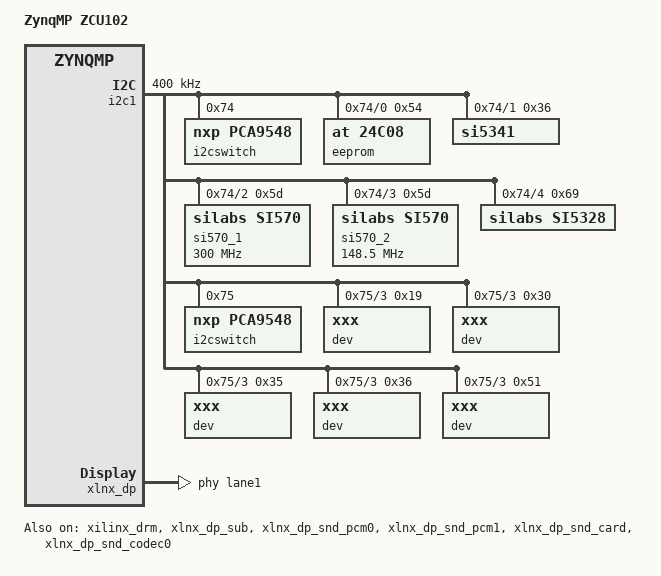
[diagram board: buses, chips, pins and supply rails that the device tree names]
/*
 * dts file for Xilinx ZynqMP ZCU102
 *
 * (C) Copyright 2015, Xilinx, Inc.
 *
 * Michal Simek <michal.simek@xilinx.com>
 *
 * This program is free software; you can redistribute it and/or
 * modify it under the terms of the GNU General Public License as
 * published by the Free Software Foundation; either version 2 of
 * the License, or (at your option) any later version.
 */

/dts-v1/;

/include/ "zynqmp.dtsi"
/include/ "zynqmp-clk.dtsi"
/include/ "pcw.dtsi"
/include/ "system-conf.dtsi"

/ {
	model = "ZynqMP ZCU102";
	compatible = "xlnx,zynqmp-zcu102", "xlnx,zynqmp";

	chosen {
		bootargs = "earlycon=cdns,mmio,0xFF000000,115200n8 uio_pdrv_genirq.of_id=generic-uio";
	};

	amba_pl: amba_pl {
		#address-cells = <2>;
		#size-cells = <2>;
		compatible = "simple-bus";
		ranges ;

		m_axi_image: kinpira@00000000 {
			xlnx,m-axi-image-addr-width = <0x20>;
			xlnx,m-axi-image-aruser-width = <0x0>;
			xlnx,m-axi-image-awuser-width = <0x0>;
			xlnx,m-axi-image-burst-max = <0x100>;
			xlnx,m-axi-image-buser-width = <0x0>;
			xlnx,m-axi-image-data-width = <0x20>;
			xlnx,m-axi-image-id-width = <0x1>;
			xlnx,m-axi-image-ruser-width = <0x0>;
			xlnx,m-axi-image-wuser-width = <0x0>;
		};

		s_axi_params: kinpira@a0000000 {
			compatible = "generic-uio";
			reg = <0x0 0xa0000000 0x0 0x10000>;
			xlnx,s-axi-params-addr-width = <0x7>;
			xlnx,s-axi-params-data-width = <0x20>;
		};

		s_axi_renkon: kinpira@a0010000 {
			compatible = "generic-uio";
			reg = <0x0 0xa0010000 0x0 0x10000>;
			xlnx,s-axi-renkon-addr-width = <0x10>;
			xlnx,s-axi-renkon-aruser-width = <0x0>;
			xlnx,s-axi-renkon-awuser-width = <0x0>;
			xlnx,s-axi-renkon-buser-width = <0x0>;
			xlnx,s-axi-renkon-data-width = <0x20>;
			xlnx,s-axi-renkon-id-width = <0xc>;
			xlnx,s-axi-renkon-ruser-width = <0x0>;
			xlnx,s-axi-renkon-wuser-width = <0x0>;
		};

		s_axi_gobou: kinpira@a0080000 {
			compatible = "generic-uio";
			reg = <0x0 0xa0080000 0x0 0x80000>;
			xlnx,s-axi-gobou-addr-width = <0x13>;
			xlnx,s-axi-gobou-aruser-width = <0x0>;
			xlnx,s-axi-gobou-awuser-width = <0x0>;
			xlnx,s-axi-gobou-buser-width = <0x0>;
			xlnx,s-axi-gobou-data-width = <0x20>;
			xlnx,s-axi-gobou-id-width = <0xc>;
			xlnx,s-axi-gobou-ruser-width = <0x0>;
			xlnx,s-axi-gobou-wuser-width = <0x0>;
		};
	};
};

&lpd_dma_chan1 {
	status = "disabled";
};
&lpd_dma_chan2 {
	status = "disabled";
};
&lpd_dma_chan3 {
	status = "disabled";
};
&lpd_dma_chan4 {
	status = "disabled";
};
&lpd_dma_chan5 {
	status = "disabled";
};
&lpd_dma_chan6 {
	status = "disabled";
};
&lpd_dma_chan7 {
	status = "disabled";
};
&lpd_dma_chan8 {
	status = "disabled";
};

&i2c1 {
	status = "okay";
	clock-frequency = <400000>;
	/* FIXME PL i2c via PCA9306 - u45 */
	/* FIXME MSP430 - u41 - not detected */
	i2cswitch@74 { /* u34 */
		compatible = "nxp,pca9548";
		#address-cells = <1>;
		#size-cells = <0>;
		reg = <0x74>;
		i2c@0 { /* i2c mw 74 0 1 */
			#address-cells = <1>;
			#size-cells = <0>;
			reg = <0>;
			/*
			 * IIC_EEPROM 1kB memory which uses 256B blocks
			 * where every block has different address.
			 *    0 - 256B address 0x54
			 * 256B - 512B address 0x55
			 * 512B - 768B address 0x56
			 * 768B - 1024B address 0x57
			 */
			eeprom@54 { /* u23 */
				compatible = "at,24c08";
				reg = <0x54>;
			};
		};
		i2c@1 { /* i2c mw 74 0 2 */
			#address-cells = <1>;
			#size-cells = <0>;
			reg = <1>;
			si5341: clock-generator1@36 { /* SI5341 - u69 */
				compatible = "si5341";
				reg = <0x36>;
			};

		};
		i2c@2 { /* i2c mw 74 0 4 */
			#address-cells = <1>;
			#size-cells = <0>;
			reg = <2>;
			si570_1: clock-generator2@5d { /* USER SI570 - u42 */
				#clock-cells = <0>;
				compatible = "silabs,si570";
				reg = <0x5d>;
				temperature-stability = <50>;
				factory-fout = <300000000>;
				clock-frequency = <300000000>;
			};
		};
		i2c@3 { /* i2c mw 74 0 8 */
			#address-cells = <1>;
			#size-cells = <0>;
			reg = <3>;
			si570_2: clock-generator3@5d { /* USER MGT SI570 - u56 */
				#clock-cells = <0>;
				compatible = "silabs,si570";
				reg = <0x5d>;
				temperature-stability = <50>; /* copy from zc702 */
				factory-fout = <156250000>;
				clock-frequency = <148500000>;
			};
		};
		i2c@4 { /* i2c mw 74 0 10 */
			#address-cells = <1>;
			#size-cells = <0>;
			reg = <4>;
			si5328: clock-generator4@69 {/* SI5328 - u20 */
				compatible = "silabs,si5328";
				reg = <0x69>;
			};
		};
		/* 5 - 7 unconnected */
	};

	i2cswitch@75 {
		compatible = "nxp,pca9548"; /* u135 */
		#address-cells = <1>;
		#size-cells = <0>;
		reg = <0x75>;

		i2c@0 {
			#address-cells = <1>;
			#size-cells = <0>;
			reg = <0>;
			/* HPC0_IIC */
		};
		i2c@1 {
			#address-cells = <1>;
			#size-cells = <0>;
			reg = <1>;
			/* HPC1_IIC */
		};
		i2c@2 {
			#address-cells = <1>;
			#size-cells = <0>;
			reg = <2>;
			/* SYSMON */
		};
		i2c@3 { /* i2c mw 75 0 8 */
			#address-cells = <1>;
			#size-cells = <0>;
			reg = <3>;
			/* DDR4 SODIMM */
			dev@19 { /* u-boot detection */
				compatible = "xxx";
				reg = <0x19>;
			};
			dev@30 { /* u-boot detection */
				compatible = "xxx";
				reg = <0x30>;
			};
			dev@35 { /* u-boot detection */
				compatible = "xxx";
				reg = <0x35>;
			};
			dev@36 { /* u-boot detection */
				compatible = "xxx";
				reg = <0x36>;
			};
			dev@51 { /* u-boot detection - maybe SPD */
				compatible = "xxx";
				reg = <0x51>;
			};
		};
		i2c@4 {
			#address-cells = <1>;
			#size-cells = <0>;
			reg = <4>;
			/* SEP 3 */
		};
		i2c@5 {
			#address-cells = <1>;
			#size-cells = <0>;
			reg = <5>;
			/* SEP 2 */
		};
		i2c@6 {
			#address-cells = <1>;
			#size-cells = <0>;
			reg = <6>;
			/* SEP 1 */
		};
		i2c@7 {
			#address-cells = <1>;
			#size-cells = <0>;
			reg = <7>;
			/* SEP 0 */
		};
	};
};

&xilinx_drm {
	status = "okay";
	clocks = <&si570_1>;
};

&xlnx_dp {
	status = "okay";
	phy-names = "dp-phy0", "dp-phy1";
	phys = <&lane1 5 0 3 27000000>, <&lane0 5 1 3 27000000>;
};

&xlnx_dp_sub {
	status = "okay";
	xlnx,vid-clk-pl;
};

&xlnx_dp_snd_pcm0 {
	status = "okay";
};

&xlnx_dp_snd_pcm1 {
	status = "okay";
};

&xlnx_dp_snd_card {
	status = "okay";
};

&xlnx_dp_snd_codec0 {
	status = "okay";
};

&xlnx_dpdma {
	status = "okay";
};
